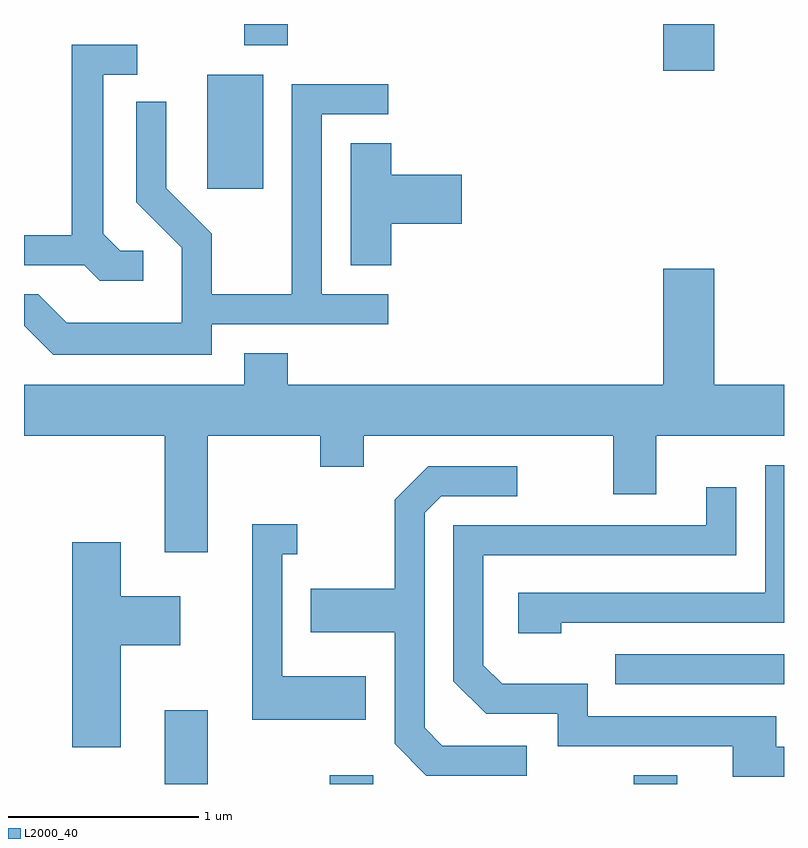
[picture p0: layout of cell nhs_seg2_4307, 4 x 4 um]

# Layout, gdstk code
import gdstk
lib = gdstk.Library(unit=1e-6, precision=1e-09)
def R(c, l, rs):  # rectangles x0, y0, x1, y1
    for r in rs: c.add(gdstk.rectangle(r[:2], r[2:], *l))
def P(c, l, *ps):  # polygons
    for p in ps: c.add(gdstk.Polygon(p, *l))
L2000_40 = (2000, 40)

nhs_seg2_4307 = lib.new_cell('nhs_seg2_4307')
R(nhs_seg2_4307, L2000_40, [(312.351,1059.802,312.579,1060.189), (313.221,1059.802,313.449,1059.849), (314.821,1059.802,315.049,1059.849), (314.723,1060.326,315.611,1060.484), (312.576,1062.936,312.869,1063.534), (314.976,1063.556,315.244,1063.802), (312.771,1063.691,312.999,1063.802)])
P(nhs_seg2_4307, L2000_40, [(312.238,1062.609),(312.117,1062.609),(312.029,1062.697),(312.029,1063.536),(312.208,1063.536),(312.208,1063.694),(311.861,1063.694),(311.861,1062.689),(311.611,1062.689),(311.611,1062.531),(311.929,1062.531),(312.009,1062.451),(312.238,1062.451)],
  [(312.599,1062.221),(313.528,1062.221),(313.528,1062.379),(313.179,1062.379),(313.179,1063.326),(313.528,1063.326),(313.528,1063.484),(313.021,1063.484),(313.021,1062.379),(312.599,1062.379),(312.599,1062.697),(312.359,1062.937),(312.359,1063.393),(312.201,1063.393),(312.201,1062.864),(312.441,1062.624),(312.441,1062.229),(311.837,1062.229),(311.687,1062.379),(311.611,1062.379),(311.611,1062.214),(311.764,1062.061),(312.599,1062.061)],
  [(313.544,1062.751),(313.914,1062.751),(313.914,1063.009),(313.544,1063.009),(313.544,1063.174),(313.331,1063.174),(313.331,1062.531),(313.544,1062.531)],
  [(312.579,1061.636),(313.171,1061.636),(313.171,1061.471),(313.399,1061.471),(313.399,1061.636),(314.711,1061.636),(314.711,1061.326),(314.939,1061.326),(314.939,1061.636),(315.611,1061.636),(315.611,1061.904),(315.244,1061.904),(315.244,1062.514),(314.976,1062.514),(314.976,1061.904),(312.999,1061.904),(312.999,1062.069),(312.771,1062.069),(312.771,1061.904),(311.611,1061.904),(311.611,1061.636),(312.351,1061.636),(312.351,1061.021),(312.579,1061.021)],
  [(314.439,1060.651),(315.611,1060.651),(315.611,1061.479),(315.511,1061.479),(315.511,1060.809),(314.211,1060.809),(314.211,1060.596),(314.439,1060.596)],
  [(314.258,1060.004),(313.812,1060.004),(313.719,1060.097),(313.719,1061.229),(313.807,1061.316),(314.208,1061.316),(314.208,1061.474),(313.739,1061.474),(313.561,1061.297),(313.561,1060.829),(313.121,1060.829),(313.121,1060.601),(313.561,1060.601),(313.561,1060.014),(313.729,1059.846),(314.258,1059.846)],
  [(315.611,1059.999),(315.569,1059.999),(315.569,1060.159),(314.579,1060.159),(314.579,1060.329),(314.127,1060.329),(314.029,1060.427),(314.029,1061.006),(315.359,1061.006),(315.359,1061.363),(315.201,1061.363),(315.201,1061.164),(313.871,1061.164),(313.871,1060.344),(314.044,1060.171),(314.421,1060.171),(314.421,1060.001),(315.341,1060.001),(315.341,1059.841),(315.611,1059.841)],
  [(313.409,1060.369),(312.969,1060.369),(312.969,1061.011),(313.048,1061.011),(313.048,1061.169),(312.811,1061.169),(312.811,1060.141),(313.409,1060.141)],
  [(312.119,1060.531),(312.434,1060.531),(312.434,1060.789),(312.119,1060.789),(312.119,1061.074),(311.866,1061.074),(311.866,1059.996),(312.119,1059.996)])

lib.write_gds('nhs_seg2_4307.gds')
